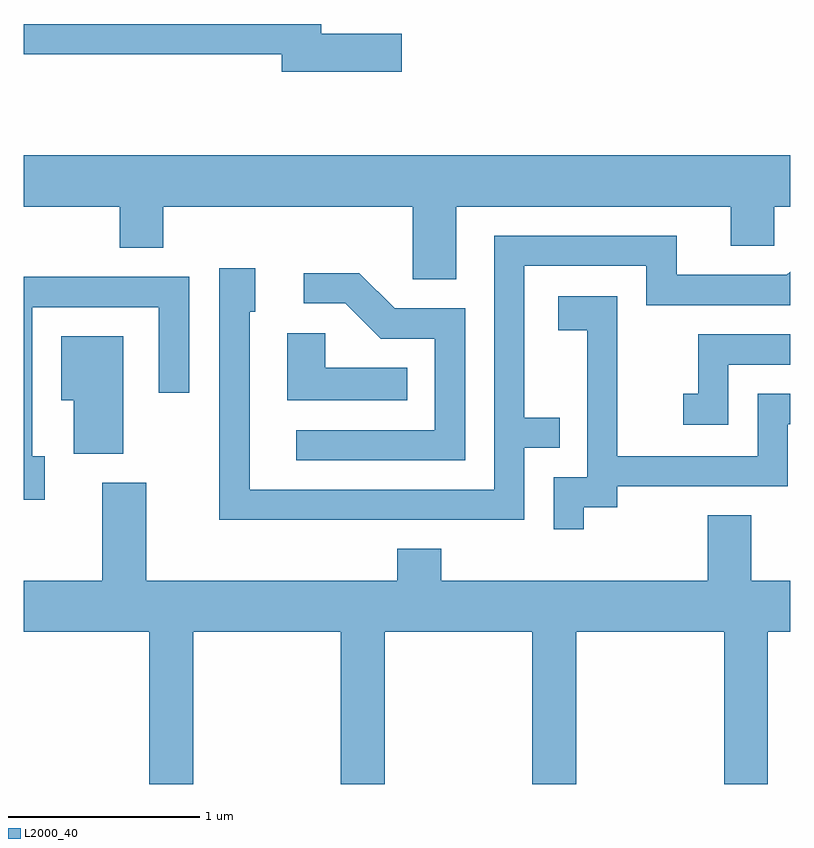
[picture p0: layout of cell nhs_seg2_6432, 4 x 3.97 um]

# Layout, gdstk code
import gdstk
lib = gdstk.Library(unit=1e-6, precision=1e-09)
def P(c, l, *ps):  # polygons
    for p in ps: c.add(gdstk.Polygon(p, *l))
L2000_40 = (2000, 40)

nhs_seg2_6432 = lib.new_cell('nhs_seg2_6432')
P(nhs_seg2_6432, L2000_40, [(377.584,993.719),(377.164,993.719),(377.164,993.769),(375.611,993.769),(375.611,993.611),(376.956,993.611),(376.956,993.521),(377.584,993.521)],
  [(377.869,992.816),(379.301,992.816),(379.301,992.611),(379.529,992.611),(379.529,992.816),(379.611,992.816),(379.611,993.084),(375.611,993.084),(375.611,992.816),(376.111,992.816),(376.111,992.601),(376.339,992.601),(376.339,992.816),(377.641,992.816),(377.641,992.436),(377.869,992.436)],
  [(378.224,991.556),(378.408,991.556),(378.408,991.714),(378.224,991.714),(378.224,992.506),(378.861,992.506),(378.861,992.301),(379.611,992.301),(379.611,992.476),(379.594,992.459),(379.019,992.459),(379.019,992.664),(378.066,992.664),(378.066,991.339),(376.789,991.339),(376.789,992.266),(376.819,992.266),(376.819,992.494),(376.631,992.494),(376.631,991.181),(378.224,991.181)],
  [(377.914,992.284),(377.547,992.284),(377.362,992.469),(377.073,992.469),(377.073,992.311),(377.289,992.311),(377.474,992.126),(377.756,992.126),(377.756,991.649),(377.033,991.649),(377.033,991.491),(377.914,991.491)],
  [(375.719,991.514),(375.654,991.514),(375.654,992.291),(376.316,992.291),(376.316,991.843),(376.474,991.843),(376.474,992.449),(375.611,992.449),(375.611,991.286),(375.719,991.286)],
  [(378.534,991.246),(378.709,991.246),(378.709,991.356),(379.599,991.356),(379.599,991.681),(379.611,991.681),(379.611,991.839),(379.441,991.839),(379.441,991.514),(378.709,991.514),(378.709,992.349),(378.401,992.349),(378.401,992.171),(378.551,992.171),(378.551,991.404),(378.376,991.404),(378.376,991.133),(378.534,991.133)],
  [(377.613,991.974),(377.184,991.974),(377.184,992.154),(376.986,992.154),(376.986,991.806),(377.613,991.806)],
  [(379.289,991.991),(379.611,991.991),(379.611,992.149),(379.131,992.149),(379.131,991.839),(379.053,991.839),(379.053,991.676),(379.289,991.676)],
  [(376.129,992.139),(375.806,992.139),(375.806,991.806),(375.871,991.806),(375.871,991.526),(376.129,991.526)],
  [(376.494,990.596),(377.266,990.596),(377.266,989.802),(377.494,989.802),(377.494,990.596),(378.266,990.596),(378.266,989.802),(378.494,989.802),(378.494,990.596),(379.266,990.596),(379.266,989.802),(379.494,989.802),(379.494,990.596),(379.611,990.596),(379.611,990.864),(379.409,990.864),(379.409,991.204),(379.181,991.204),(379.181,990.864),(377.789,990.864),(377.789,991.029),(377.561,991.029),(377.561,990.864),(376.249,990.864),(376.249,991.374),(376.021,991.374),(376.021,990.864),(375.611,990.864),(375.611,990.596),(376.266,990.596),(376.266,989.802),(376.494,989.802)])

lib.write_gds('nhs_seg2_6432.gds')
